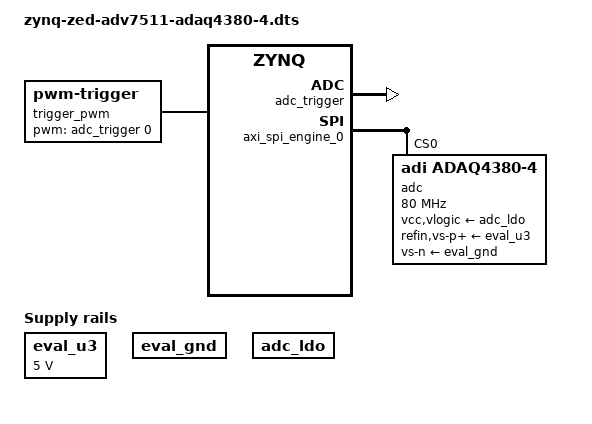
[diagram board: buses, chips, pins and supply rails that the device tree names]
// SPDX-License-Identifier: GPL-2.0
/*
 * Analog Devices ADAQ4380-4
 * https://www.analog.com/media/en/technical-documentation/data-sheets/adaq4380-4.pdf
 * https://www.analog.com/media/en/technical-documentation/user-guides/eval-adaq4380-4-4370-4-4381-4-ug-2224.pdf
 * https://wiki.analog.com/resources/tools-software/linux-drivers/iio-adc/ad738x
 * http://analogdevicesinc.github.io/hdl/projects/ad738x_fmc/index.html
 *
 * hdl_project: <ad738x_fmc/zed>
 * board_revision: <>
 *
 * Copyright (C) 2025 Analog Devices Inc.
 */
/dts-v1/;

#include <dt-bindings/gpio/gpio.h>
#include <dt-bindings/interrupt-controller/irq.h>

#include "zynq-zed.dtsi"
#include "zynq-zed-adv7511.dtsi"

/ {
	eval_u3: eval-board-u3-regulator {
		compatible = "regulator-fixed";
		regulator-name = "EVAL +5V supply (U3)";
		regulator-min-microvolt = <5000000>;
		regulator-max-microvolt = <5000000>;
		regulator-always-on;
	};

	eval_gnd: eval-board-gnd-regulator {
		compatible = "regulator-fixed";
		regulator-name = "EVAL GND (0V) supply";
		regulator-always-on;
	};

	// technically, the ADC node should be a regulator provider instead of this
	adc_ldo: adc-ldo-regulator {
		compatible = "regulator-fixed";
		regulator-name = "ADC LDO output";
		regulator-always-on;
	};

	trigger_pwm: adc-pwm-trigger {
		compatible = "pwm-trigger";
		#trigger-source-cells = <0>;
		pwms = <&adc_trigger 0 10000 0>;
	};
};

&fpga_axi {
	adc_trigger: pwm@44b00000 {
		compatible = "adi,axi-pwmgen-2.00.a";
		reg = <0x44b00000 0x1000>;
		#pwm-cells = <3>;
		clocks = <&clkc 15>, <&spi_clk>;
		clock-names = "axi", "ext";
	};

	spi_clk: clock-controller@44a70000 {
		compatible = "adi,axi-clkgen-2.00.a";
		reg = <0x44a70000 0x1000>;
		#clock-cells = <0>;
		clocks = <&clkc 15>, <&clkc 15>;
		clock-names = "clkin1", "s_axi_aclk";
		clock-output-names = "spi_clk";
		assigned-clocks = <&spi_clk>;
		assigned-clock-rates = <160000000>;
	};

	rx_dma: dma-controller@44a30000 {
		compatible = "adi,axi-dmac-1.00.a";
		reg = <0x44a30000 0x1000>;
		#dma-cells = <1>;
		interrupts = <0 57 IRQ_TYPE_LEVEL_HIGH>;
		clocks = <&clkc 15>;
	};

	axi_spi_engine_0: spi@44a00000 {
		compatible = "adi,axi-spi-engine-1.00.a";
		reg = <0x44a00000 0x1000>;
		interrupt-parent = <&intc>;
		interrupts = <0 56 IRQ_TYPE_LEVEL_HIGH>;
		clocks = <&clkc 15>, <&spi_clk>;
		clock-names = "s_axi_aclk", "spi_clk";

		dmas = <&rx_dma 0>;
		dma-names = "offload0-rx";
		trigger-sources = <&trigger_pwm>;

		#address-cells = <1>;
		#size-cells = <0>;

		adc@0 {
			compatible = "adi,adaq4380-4";
			reg = <0>;

			spi-cpol;
			spi-max-frequency = <80000000>;

			/*
			 * ADI tree extension (not mainline). Set this based on
			 * HDL NUM_OF_SDI compile argument. Can omit if =1.
			 * REVISIT: replace this upstream equivalent when it
			 * becomes available.
			 */
			adi,num-sdi = <4>;

			vcc-supply = <&adc_ldo>;
			vlogic-supply = <&adc_ldo>;
			refin-supply = <&eval_u3>;
			vs-p-supply = <&eval_u3>;
			vs-n-supply = <&eval_gnd>;
			ldo-supply = <&eval_u3>;

			#address-cells = <1>;
			#size-cells = <0>;

			channel@0 {
				reg = <0>;
				// depends on LKA jumper positions
				adi,gain-milli = /bits/ 16 <300>;
			};

			channel@1 {
				reg = <1>;
				// depends on LKB jumper positions
				adi,gain-milli = /bits/ 16 <300>;
			};

			channel@2 {
				reg = <2>;
				// depends on LKC jumper positions
				adi,gain-milli = /bits/ 16 <300>;
			};

			channel@3 {
				reg = <3>;
				// depends on LKD jumper positions
				adi,gain-milli = /bits/ 16 <300>;
			};
		};
	};
};
